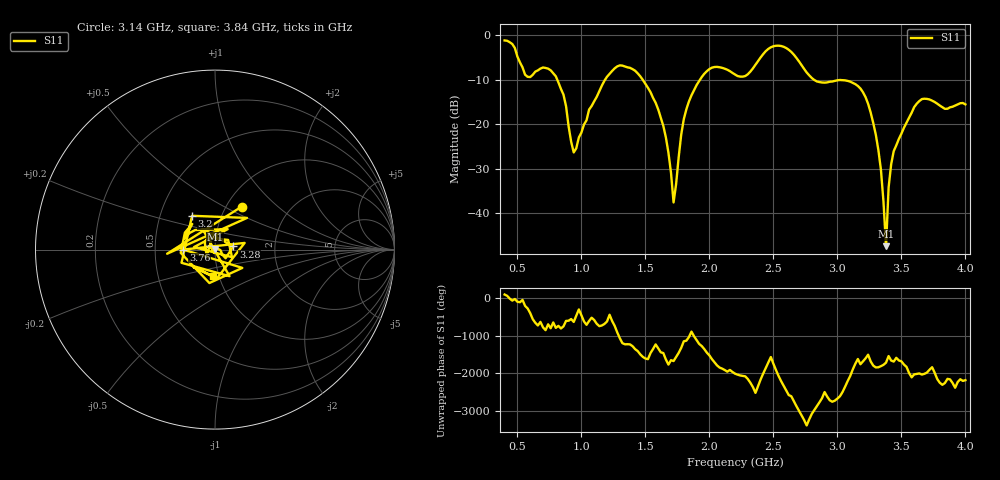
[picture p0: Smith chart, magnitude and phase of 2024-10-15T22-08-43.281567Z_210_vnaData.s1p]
! Created with skrf (http://scikit-rf.org).
# Hz S RI R 50.0
!freq ReS11 ImS11
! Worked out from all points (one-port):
!   181 points, 400 MHz to 4 GHz, reference 50 ohm
!   lowest |S11| = -47.4 dB at 3.38 GHz (marker M1), VSWR 1.01, Z = 50 + j0.425 ohm
!   |S11| at or under -10 dB: 810.8 MHz to 1.186 GHz (374.9 MHz wide, 37.6 % of centre); 1.478 GHz to 1.927 GHz (449.2 MHz wide, 26.4 % of centre); 2.816 GHz to end of sweep
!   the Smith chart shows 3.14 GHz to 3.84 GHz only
!   S11 on the Smith chart (normalised r, x): 3.14 GHz: 1.18, +0.61; 3.2 GHz: 0.73, +0.29; 3.28 GHz: 1.23, +0.04; 3.76 GHz: 0.70, +0.00; 3.84 GHz: 0.94, -0.28
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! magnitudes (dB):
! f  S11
! 400 MHz  -1.2
! 560 MHz  -8.9
! 740 MHz  -7.6
! 860 MHz  -13.4
! 940 MHz  -26.4
! 1.3 GHz  -6.8
! 1.58 GHz  -15.2
! 1.66 GHz  -23.0
! 1.72 GHz  -37.6
! 1.76 GHz  -27.4
! 1.82 GHz  -16.7
! 1.94 GHz  -9.4
! 2.2 GHz  -8.8
! 2.5 GHz  -2.5
! 2.66 GHz  -4.4
! 2.84 GHz  -10.4
! 3.1 GHz  -10.5
! 3.14 GHz  -11.0
! 3.2 GHz  -12.9
! 3.28 GHz  -19.7
! 3.34 GHz  -30.2
! 3.38 GHz  -47.4
! 3.4 GHz  -34.3
! 3.42 GHz  -29.0
! 3.56 GHz  -18.6
! 3.76 GHz  -15.0
! 3.84 GHz  -16.6
! 4 GHz  -15.6
